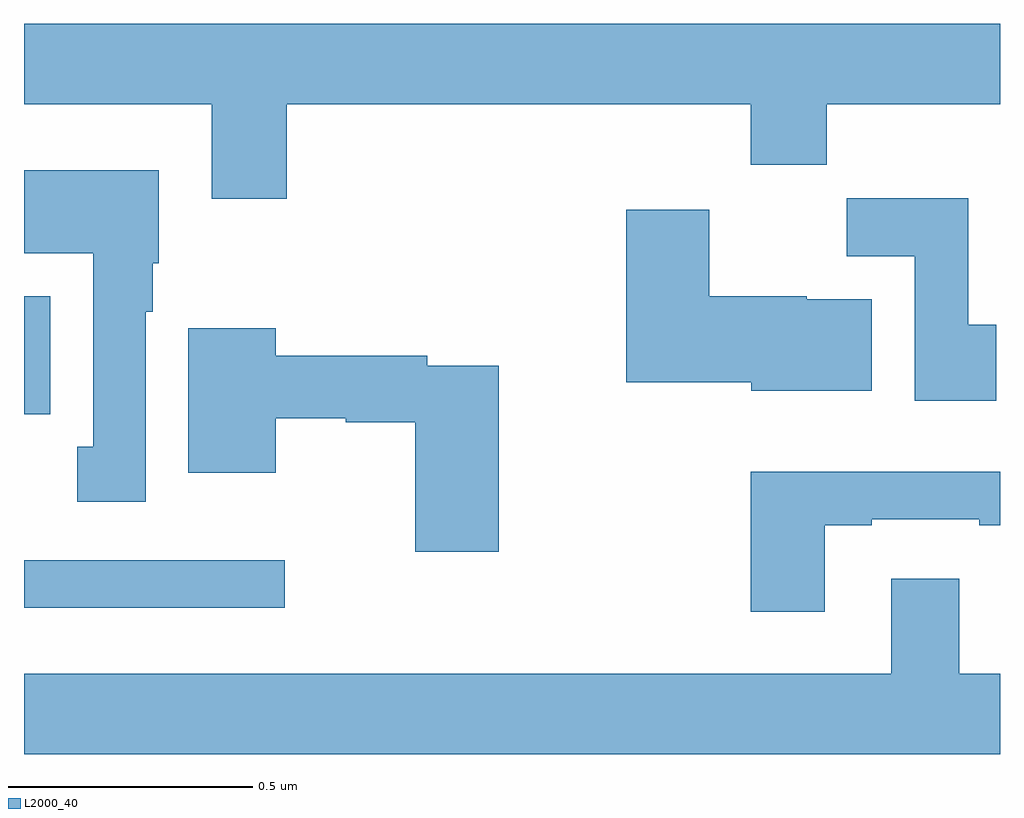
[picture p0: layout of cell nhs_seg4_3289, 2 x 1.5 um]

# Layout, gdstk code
import gdstk
lib = gdstk.Library(unit=1e-6, precision=1e-09)
def R(c, l, rs):  # rectangles x0, y0, x1, y1
    for r in rs: c.add(gdstk.rectangle(r[:2], r[2:], *l))
def P(c, l, *ps):  # polygons
    for p in ps: c.add(gdstk.Polygon(p, *l))
L2000_40 = (2000, 40)

nhs_seg4_3289 = lib.new_cell('nhs_seg4_3289')
R(nhs_seg4_3289, L2000_40, [(151,794.456,151.534,794.553), (151,794.852,151.054,795.094)])
P(nhs_seg4_3289, L2000_40, [(151.538,795.488),(152.489,795.488),(152.489,795.364),(152.645,795.364),(152.645,795.488),(153,795.488),(153,795.652),(151,795.652),(151,795.488),(151.385,795.488),(151.385,795.294),(151.538,795.294)],
  [(151.249,795.062),(151.264,795.062),(151.264,795.162),(151.276,795.162),(151.276,795.352),(151,795.352),(151,795.182),(151.142,795.182),(151.142,794.786),(151.109,794.786),(151.109,794.673),(151.249,794.673)],
  [(152.992,795.036),(152.935,795.036),(152.935,795.295),(152.686,795.295),(152.686,795.176),(152.825,795.176),(152.825,794.88),(152.992,794.88)],
  [(152.737,795.088),(152.604,795.088),(152.604,795.094),(152.404,795.094),(152.404,795.271),(152.234,795.271),(152.234,794.918),(152.49,794.918),(152.49,794.9),(152.737,794.9)],
  [(151.973,794.952),(151.826,794.952),(151.826,794.972),(151.516,794.972),(151.516,795.028),(151.337,795.028),(151.337,794.732),(151.516,794.732),(151.516,794.844),(151.659,794.844),(151.659,794.836),(151.802,794.836),(151.802,794.571),(151.973,794.571)],
  [(152.641,794.625),(152.737,794.625),(152.737,794.637),(152.957,794.637),(152.957,794.625),(153,794.625),(153,794.734),(152.489,794.734),(152.489,794.448),(152.641,794.448)],
  [(153,794.32),(152.917,794.32),(152.917,794.515),(152.777,794.515),(152.777,794.32),(151,794.32),(151,794.156),(153,794.156)])

lib.write_gds('nhs_seg4_3289.gds')
